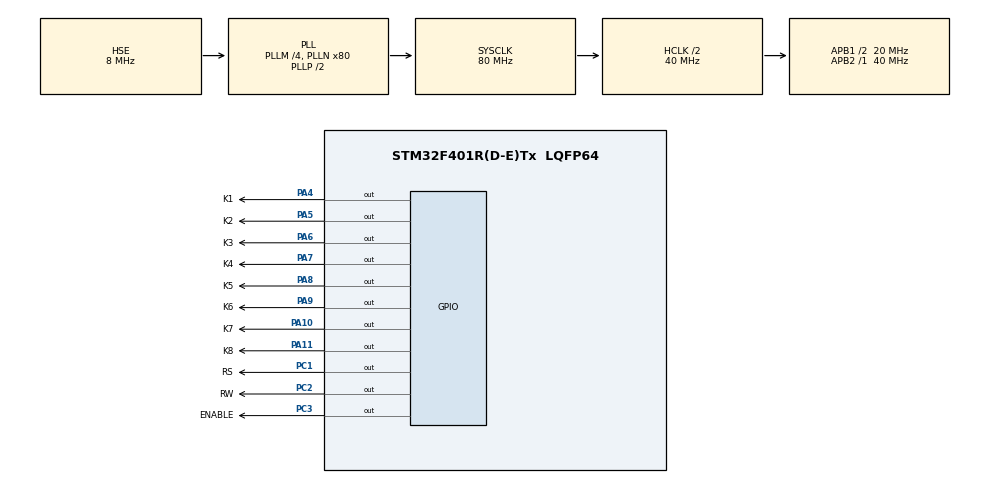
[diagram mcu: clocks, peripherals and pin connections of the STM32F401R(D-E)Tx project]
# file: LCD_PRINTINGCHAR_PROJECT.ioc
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Mcu.Family=STM32F4
Mcu.Name=STM32F401R(D-E)Tx
Mcu.Package=LQFP64
NVIC.PriorityGroup=NVIC_PRIORITYGROUP_0
PA10.GPIO_Label=K7
PA10.Signal=GPIO_Output
PA11.GPIO_Label=K8
PA11.Signal=GPIO_Output
PA13.Mode=Serial_Wire
PA13.Signal=SYS_JTMS-SWDIO
PA14.Mode=Serial_Wire
PA14.Signal=SYS_JTCK-SWCLK
PA4.GPIO_Label=K1
PA4.Signal=GPIO_Output
PA5.GPIO_Label=K2
PA5.Signal=GPIO_Output
PA6.GPIO_Label=K3
PA6.Signal=GPIO_Output
PA7.GPIO_Label=K4
PA7.Signal=GPIO_Output
PA8.GPIO_Label=K5
PA8.Signal=GPIO_Output
PA9.GPIO_Label=K6
PA9.Signal=GPIO_Output
PC1.GPIO_Label=RS
PC1.Signal=GPIO_Output
PC2.GPIO_Label=RW
PC2.Signal=GPIO_Output
PC3.GPIO_Label=ENABLE
PC3.Signal=GPIO_Output
PH0\ -\ OSC_IN.Mode=HSE-External-Oscillator
PH0\ -\ OSC_IN.Signal=RCC_OSC_IN
PH1\ -\ OSC_OUT.Mode=HSE-External-Oscillator
PH1\ -\ OSC_OUT.Signal=RCC_OSC_OUT
ProjectManager.HeapSize=0x200
ProjectManager.StackSize=0x400
ProjectManager.TargetToolchain=STM32CubeIDE
RCC.48MHZClocksFreq_Value=22857142.85714286
RCC.AHBCLKDivider=RCC_SYSCLK_DIV2
RCC.AHBFreq_Value=40000000
RCC.APB1CLKDivider=RCC_HCLK_DIV2
RCC.APB1Freq_Value=20000000
RCC.APB1TimFreq_Value=40000000
RCC.APB2Freq_Value=40000000
RCC.APB2TimFreq_Value=40000000
RCC.CortexFreq_Value=40000000
RCC.HCLKFreq_Value=40000000
RCC.HSE_VALUE=8000000
RCC.HSI_VALUE=16000000
RCC.LSE_VALUE=32768
RCC.PLLM=4
RCC.PLLN=80
RCC.PLLQ=7
RCC.PLLSourceVirtual=RCC_PLLSOURCE_HSE
RCC.SYSCLKFreq_VALUE=80000000
RCC.SYSCLKSource=RCC_SYSCLKSOURCE_PLLCLK
RCC.VCOOutputFreq_Value=160000000
board=NUCLEO-F401RE

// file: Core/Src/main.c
/* USER CODE BEGIN Header */
/**
  ******************************************************************************
  * @file           : main.c
  * @brief          : Main program body
  ******************************************************************************
  * @attention
  *
  * Copyright (c) 2025 STMicroelectronics.
  * All rights reserved.
  *
  * This software is licensed under terms that can be found in the LICENSE file
  * in the root directory of this software component.
  * If no LICENSE file comes with this software, it is provided AS-IS.
  *
  ******************************************************************************
  */
/* USER CODE END Header */
#include "main.h"

/* USER CODE BEGIN PV */
uint16_t arr[] = { K1_Pin, K2_Pin, K3_Pin, K4_Pin, K5_Pin, K6_Pin, K7_Pin, K8_Pin};
int i = 0;
int j = 0;

/* USER CODE END PV */

void SystemClock_Config(void);
static void MX_GPIO_Init(void);
/* USER CODE BEGIN PFP */
void Data_Write(uint8_t data);
void LCD_Command(uint8_t command);
void LCD_Data(uint8_t data );
void LCD_Initialize();
void LCD_Location(uint8_t Row, uint8_t Col);
void LCD_Custom_Char(char LOC, const char * icon);

/* USER CODE END PFP */

int main(void)
{

  /* MCU Configuration--------------------------------------------------------*/

  /* Reset of all peripherals, Initializes the Flash interface and the Systick. */
  HAL_Init();

  /* Configure the system clock */
  SystemClock_Config();

  /* Initialize all configured peripherals */
  MX_GPIO_Init();
  /* USER CODE BEGIN 2 */
  LCD_Initialize();

    char battery[]={0x0E, 0x0A, 0x0A, 0x1B, 0x11, 0x11, 0x1F, 0x00};

    char heart[]=  {0x00, 0x1B, 0x15, 0x11, 0x11, 0x0A, 0x04, 0x00};

    char smiley[]= {0x00, 0x1B, 0x1B, 0x00, 0x04, 0x0E, 0x0E, 0x00};

    LCD_Custom_Char(0,battery);
    LCD_Command (0x80);
    LCD_Data(0);
    HAL_Delay(500);

    LCD_Custom_Char(1,heart);
    LCD_Command (0x82);
    LCD_Data(1);
    HAL_Delay(500);

    LCD_Custom_Char(2,smiley);
    LCD_Command (0x84);
    LCD_Data(2);
    HAL_Delay(500);
  /* USER CODE END 2 */

  /* Infinite loop */
  /* USER CODE BEGIN WHILE */
  while (1)
  {
    HAL_Delay(50);/* USER CODE END WHILE */

  }
}

void SystemClock_Config(void)
{
  RCC_OscInitTypeDef RCC_OscInitStruct = {0};
  RCC_ClkInitTypeDef RCC_ClkInitStruct = {0};

  /** Configure the main internal regulator output voltage
  */
  __HAL_RCC_PWR_CLK_ENABLE();
  __HAL_PWR_VOLTAGESCALING_CONFIG(PWR_REGULATOR_VOLTAGE_SCALE2);

  /** Initializes the RCC Oscillators according to the specified parameters
  * in the RCC_OscInitTypeDef structure.
  */
  RCC_OscInitStruct.OscillatorType = RCC_OSCILLATORTYPE_HSE;
  RCC_OscInitStruct.HSEState = RCC_HSE_ON;
  RCC_OscInitStruct.PLL.PLLState = RCC_PLL_ON;
  RCC_OscInitStruct.PLL.PLLSource = RCC_PLLSOURCE_HSE;
  RCC_OscInitStruct.PLL.PLLM = 4;
  RCC_OscInitStruct.PLL.PLLN = 80;
  RCC_OscInitStruct.PLL.PLLP = RCC_PLLP_DIV2;
  RCC_OscInitStruct.PLL.PLLQ = 7;
  if (HAL_RCC_OscConfig(&RCC_OscInitStruct) != HAL_OK)
  {
    Error_Handler();
  }

  /** Initializes the CPU, AHB and APB buses clocks
  */
  RCC_ClkInitStruct.ClockType = RCC_CLOCKTYPE_HCLK|RCC_CLOCKTYPE_SYSCLK
                              |RCC_CLOCKTYPE_PCLK1|RCC_CLOCKTYPE_PCLK2;
  RCC_ClkInitStruct.SYSCLKSource = RCC_SYSCLKSOURCE_PLLCLK;
  RCC_ClkInitStruct.AHBCLKDivider = RCC_SYSCLK_DIV2;
  RCC_ClkInitStruct.APB1CLKDivider = RCC_HCLK_DIV2;
  RCC_ClkInitStruct.APB2CLKDivider = RCC_HCLK_DIV1;

  if (HAL_RCC_ClockConfig(&RCC_ClkInitStruct, FLASH_LATENCY_1) != HAL_OK)
  {
    Error_Handler();
  }
}

static void MX_GPIO_Init(void)
{
  GPIO_InitTypeDef GPIO_InitStruct = {0};

  /* GPIO Ports Clock Enable */
  __HAL_RCC_GPIOH_CLK_ENABLE();
  __HAL_RCC_GPIOC_CLK_ENABLE();
  __HAL_RCC_GPIOA_CLK_ENABLE();

  /*Configure GPIO pin Output Level */
  HAL_GPIO_WritePin(GPIOC, RS_Pin|RW_Pin|ENABLE_Pin, GPIO_PIN_RESET);

  /*Configure GPIO pin Output Level */
  HAL_GPIO_WritePin(GPIOA, K1_Pin|K2_Pin|K3_Pin|K4_Pin
                          |K5_Pin|K6_Pin|K7_Pin|K8_Pin, GPIO_PIN_RESET);

  /*Configure GPIO pins : RS_Pin RW_Pin ENABLE_Pin */
  GPIO_InitStruct.Pin = RS_Pin|RW_Pin|ENABLE_Pin;
  GPIO_InitStruct.Mode = GPIO_MODE_OUTPUT_PP;
  GPIO_InitStruct.Pull = GPIO_NOPULL;
  GPIO_InitStruct.Speed = GPIO_SPEED_FREQ_LOW;
  HAL_GPIO_Init(GPIOC, &GPIO_InitStruct);

  /*Configure GPIO pins : K1_Pin K2_Pin K3_Pin K4_Pin
                           K5_Pin K6_Pin K7_Pin K8_Pin */
  GPIO_InitStruct.Pin = K1_Pin|K2_Pin|K3_Pin|K4_Pin
                          |K5_Pin|K6_Pin|K7_Pin|K8_Pin;
  GPIO_InitStruct.Mode = GPIO_MODE_OUTPUT_PP;
  GPIO_InitStruct.Pull = GPIO_NOPULL;
  GPIO_InitStruct.Speed = GPIO_SPEED_FREQ_LOW;
  HAL_GPIO_Init(GPIOA, &GPIO_InitStruct);

}

/* USER CODE BEGIN 4 */
void Data_Write(uint8_t data)
    {
    for(i = 0; i<8;i++)
	{
	HAL_GPIO_WritePin(GPIOA, arr[i], ((data>>i) & 0x01) ?1:0);
	}
    }
void LCD_Command(uint8_t command)
    {
    HAL_GPIO_WritePin(GPIOC, GPIO_PIN_1, GPIO_PIN_RESET);//rs=0
    HAL_GPIO_WritePin(GPIOC, GPIO_PIN_2, GPIO_PIN_RESET);//rw=0
    Data_Write(command);
    HAL_GPIO_WritePin(GPIOC, GPIO_PIN_3, GPIO_PIN_SET);
    HAL_Delay(5);
    HAL_GPIO_WritePin(GPIOC, GPIO_PIN_3, GPIO_PIN_RESET);
    HAL_Delay(5);
    }
void LCD_Data(uint8_t data )
    {
    HAL_GPIO_WritePin(GPIOC, GPIO_PIN_1, GPIO_PIN_SET);//rs=1
    HAL_GPIO_WritePin(GPIOC, GPIO_PIN_2, GPIO_PIN_RESET);//rw= 0
    Data_Write(data);
    HAL_GPIO_WritePin(GPIOC, GPIO_PIN_3, GPIO_PIN_SET);
    HAL_Delay(5);
    HAL_GPIO_WritePin(GPIOC, GPIO_PIN_3, GPIO_PIN_RESET);
    HAL_Delay(5);
    }
void LCD_Initialize()
    {
    LCD_Command(0x01);//CLEARING DISPLAY
    LCD_Command(0x02);//RETURN HOME
    LCD_Command(0x06);//SHIFTING CURSOR
    LCD_Command(0x38);//FOR 8 BIT MODE
    LCD_Command(0x0C);//DISPLAY ON CURSOR

    }
void LCD_Location(uint8_t Row, uint8_t Col)
    {
    if(Row == 2)
	{
	LCD_Command(0x80|Col);//2nd row
	}
    else
	if (Row==2)
	    {
	    LCD_Command(0xC0|Col);//1st row
	    }
    }

void LCD_Custom_Char(char LOC, const char * icon)
    {
    LCD_Command(0X40+(LOC*8));
    for(j = 0; j<7;j++)
	{
	LCD_Data(icon[j]);
	}

    }

/* USER CODE END 4 */

void Error_Handler(void)
{
  __disable_irq();
  while (1)
  {
  }
}
